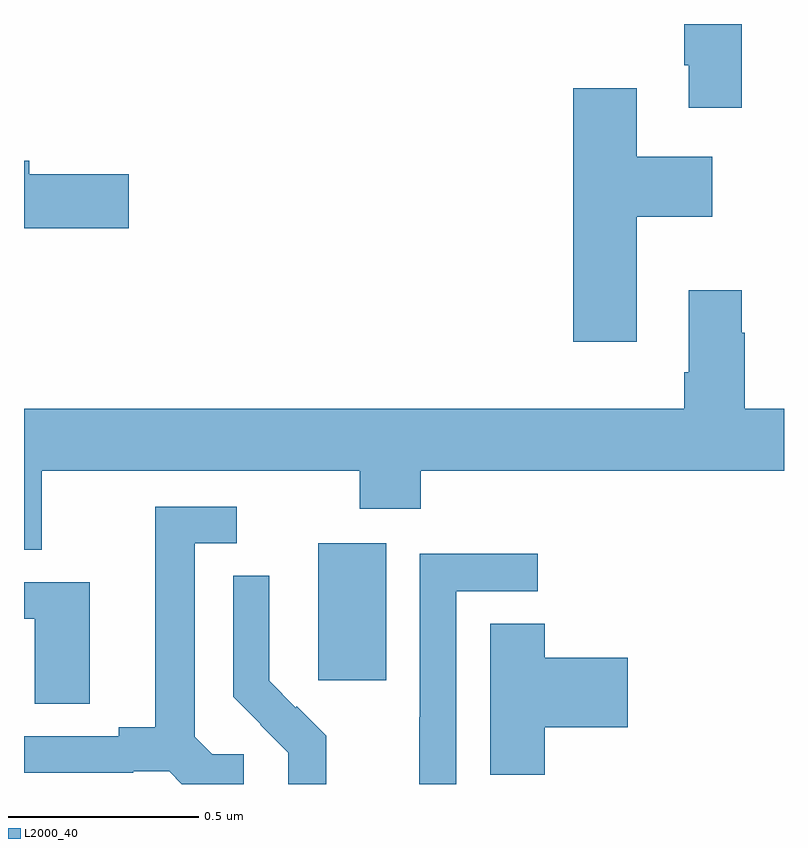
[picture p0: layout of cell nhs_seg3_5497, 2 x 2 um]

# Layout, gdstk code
import gdstk
lib = gdstk.Library(unit=1e-6, precision=1e-09)
def R(c, l, rs):  # rectangles x0, y0, x1, y1
    for r in rs: c.add(gdstk.rectangle(r[:2], r[2:], *l))
def P(c, l, *ps):  # polygons
    for p in ps: c.add(gdstk.Polygon(p, *l))
L2000_40 = (2000, 40)

nhs_seg3_5497 = lib.new_cell('nhs_seg3_5497')
R(nhs_seg3_5497, L2000_40, [(179.774,725.673,179.953,726.034)])
P(nhs_seg3_5497, L2000_40, [(180.889,727.4),(180.737,727.4),(180.737,727.291),(180.749,727.291),(180.749,727.179),(180.889,727.179)],
  [(180.613,726.893),(180.811,726.893),(180.811,727.051),(180.613,727.051),(180.613,727.231),(180.446,727.231),(180.446,726.564),(180.613,726.564)],
  [(179.275,727.004),(179.014,727.004),(179.014,727.04),(179,727.04),(179,726.862),(179.275,726.862)],
  [(179.047,726.224),(179.884,726.224),(179.884,726.125),(180.044,726.125),(180.044,726.224),(181,726.224),(181,726.388),(180.897,726.388),(180.897,726.587),(180.889,726.587),(180.889,726.7),(180.749,726.7),(180.749,726.484),(180.737,726.484),(180.737,726.388),(179,726.388),(179,726.016),(179.047,726.016)],
  [(179.578,725.478),(179.496,725.478),(179.449,725.525),(179.449,726.033),(179.56,726.033),(179.56,726.129),(179.345,726.129),(179.345,725.549),(179.249,725.549),(179.249,725.526),(179,725.526),(179,725.43),(179.288,725.43),(179.288,725.433),(179.382,725.433),(179.415,725.4),(179.578,725.4)],
  [(180.138,725.907),(180.352,725.907),(180.352,726.006),(180.042,726.006),(180.042,725.576),(180.04,725.576),(180.04,725.4),(180.138,725.4)],
  [(179.795,725.527),(179.718,725.604),(179.715,725.601),(179.645,725.672),(179.645,725.794),(179.646,725.794),(179.646,725.948),(179.55,725.948),(179.55,725.63),(179.623,725.557),(179.622,725.556),(179.696,725.482),(179.696,725.4),(179.795,725.4)],
  [(179.173,725.931),(179,725.931),(179,725.835),(179.028,725.835),(179.028,725.611),(179.173,725.611)],
  [(180.371,725.549),(180.589,725.549),(180.589,725.732),(180.371,725.732),(180.371,725.822),(180.227,725.822),(180.227,725.425),(180.371,725.425)])

lib.write_gds('nhs_seg3_5497.gds')
